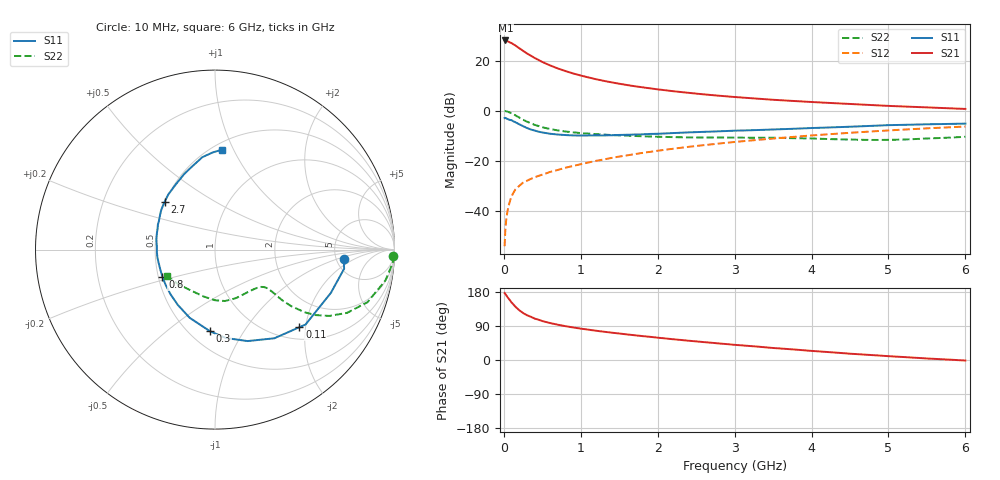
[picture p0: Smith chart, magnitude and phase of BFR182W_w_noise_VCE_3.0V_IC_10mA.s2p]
! Infineon Technologies  Discrete & RF Semiconductors
! BFR182W
! VCE =  3.0 V,  IC =  10 mA
! Common Emitter S-Parameters:  Jan 2017
# GHz  S  MA  R  50
!  f  S11  S21  S12  S22
! GHz  MAG  ANG  MAG  ANG  MAG  ANG  MAG  ANG
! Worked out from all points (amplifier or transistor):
!   77 points, 10 MHz to 6 GHz, reference 50 ohm
!   highest |S21| = 28.1 dB at 20 MHz (marker M1)
!   |S21| within 3 dB of that: start of sweep to 196.3 MHz
!   unconditionally stable (mu >= 1): 1.062 GHz to 2.663 GHz
!   at 130 MHz: K = 0.28, MSG = 29.4 dB, |S12| = -32.4 dB
!   at 2.2 GHz: K = 1.03, MAG = 10.5 dB, |S12| = -15.1 dB
!   at 6 GHz: K = 0.87, MSG = 3.5 dB, |S12| = -6.2 dB
!   lowest NFmin = 1.07 dB at 450 MHz
!   S11 on the Smith chart (normalised r, x): 10 MHz: 5.82, -1.30; 110 MHz: 1.27, -1.85; 300 MHz: 0.63, -0.72; 800 MHz: 0.53, -0.18; 2.7 GHz: 0.50, +0.31; 6 GHz: 0.56, +0.90
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0.01  0.7189 -4.3  25.25 176.8  0.002 99.9  0.9951 -2.0
0.02  0.7273 -8.4  25.45 174.1  0.0044 85.9  0.9933 -4.3
0.05  0.6891 -20.5  24.55 165.2  0.0105 81.6  0.9652 -10.2
0.1  0.6548 -39.6  22.57 151.8  0.0196 73.3  0.8993 -19.0
0.11  0.6387 -42.6  22.03 149.7  0.0211 71.6  0.8817 -20.2
0.15  0.5945 -56.2  20.18 140.5  0.027 66.8  0.8157 -25.6
0.2  0.541 -70.4  17.85 131.4  0.0319 63.8  0.7367 -30.1
0.25  0.4965 -82.9  15.82 123.9  0.0371 61.0  0.668 -33.1
0.3  0.4561 -93.4  14.03 118.2  0.0404 59.3  0.6105 -34.9
0.4  0.4053 -110.4  11.39 109.3  0.0474 59.2  0.5276 -36.6
0.5  0.3712 -124.0  9.469 102.8  0.0534 59.6  0.4726 -37.0
0.6  0.3507 -135.3  8.103 97.5  0.0605 60.1  0.4348 -36.8
0.8  0.3298 -152.7  6.246 89.3  0.0734 62.5  0.3883 -36.4
0.9  0.3243 -160.0  5.59 85.9  0.0797 62.8  0.3736 -36.4
1.1  0.3239 -172.0  4.651 80.0  0.0936 64.1  0.3525 -36.9
1.5  0.3315 170.1  3.485 69.9  0.1227 65.0  0.3249 -40.2
2.1  0.355 150.8  2.58 56.9  0.168 63.5  0.3025 -49.7
2.7  0.3866 136.5  2.071 45.5  0.2153 60.5  0.2943 -62.3
3.1  0.4067 128.0  1.846 38.5  0.2479 57.8  0.2924 -70.7
4.1  0.4603 110.5  1.478 22.6  0.3317 50.0  0.2783 -92.5
5.1  0.5234 96.5  1.241 8.9  0.4157 40.7  0.2662 -124.2
6  0.5579 86.2  1.095 -1.4  0.4875 31.6  0.3046 -151.0
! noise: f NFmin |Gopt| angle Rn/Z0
0.45  1.07  0.08  50  0.15
0.9  1.15  0.07  86  0.15
1.9  1.65  0.19  -164  0.13
2.4  1.9  0.18  -156  0.2
